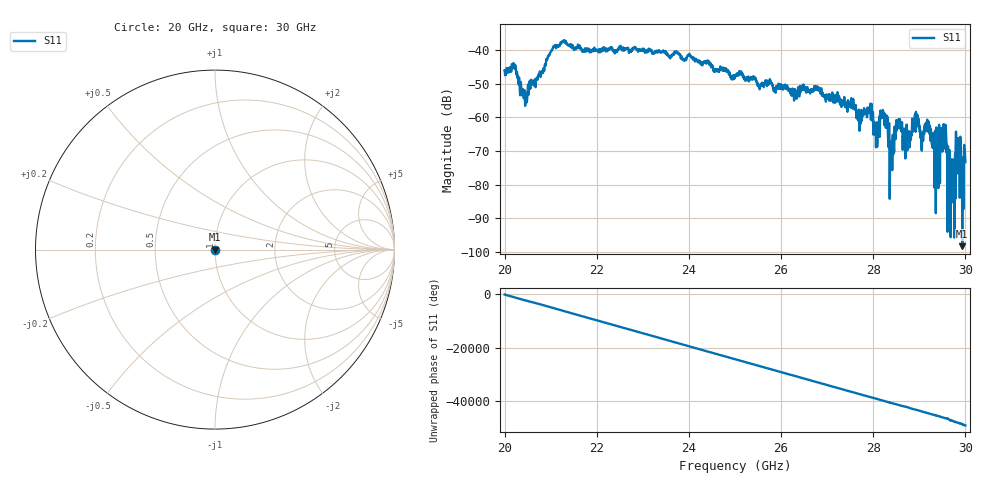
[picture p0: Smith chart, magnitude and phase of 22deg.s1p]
#  HZ  S  RI  R  50.00
! Rohde & Schwarz ZVA40 4Ports - Version 3.90 - 1145.1110k42 SN: 100403
! Date: 2023-10-03 10:30:10
! Measurement: S12
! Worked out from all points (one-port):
!   5001 points, 20 GHz to 30 GHz, reference 50 ohm
!   lowest |S11| = -98.3 dB at 29.93 GHz (marker M1), VSWR 1.00, Z = 50 - j0.000221 ohm
!   |S11| at or under -10 dB: start of sweep to end of sweep
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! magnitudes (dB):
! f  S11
! 20 GHz  -46.0
! 20.2 GHz  -44.2
! 20.45 GHz  -55.3
! 21.05 GHz  -39.3
! 21.25 GHz  -37.5
! 22.5 GHz  -39.4
! 23.75 GHz  -40.9
! 25 GHz  -47.6
! 26.25 GHz  -51.5
! 26.76 GHz  -51.2
! 27.5 GHz  -56.5
! 27.68 GHz  -58.1
! 27.92 GHz  -58.1
! 28.05 GHz  -64.5
! 28.22 GHz  -59.3
! 28.4 GHz  -67.2
! 28.54 GHz  -62.4
! 28.75 GHz  -64.9
! 28.94 GHz  -61.7
! 29.06 GHz  -67.7
! 29.19 GHz  -62.9
! 29.37 GHz  -63.0
! 29.53 GHz  -65.4
! 29.65 GHz  -71.5
! 29.71 GHz  -75.9
! 29.84 GHz  -70.9
! 29.93 GHz  -98.3
! 30 GHz  -73.3
